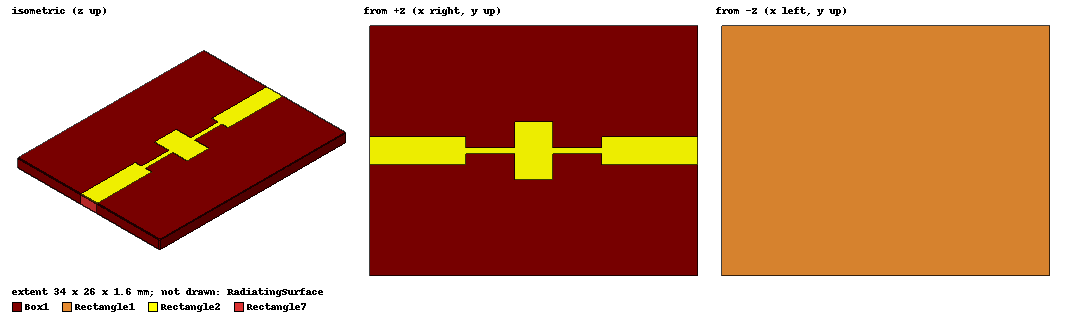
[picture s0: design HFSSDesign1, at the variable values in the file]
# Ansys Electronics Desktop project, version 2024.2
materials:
  vacuum: permittivity=1
  FR4_epoxy: permittivity=4.4 dielectric_loss_tangent=0.02

design HFSSDesign1 (HFSS, HFSS Terminal Network, model units mm)
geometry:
  Box1 [FR4_epoxy] = box(corner=(-17mm, -13mm, 0mm), size=(34mm, 26mm, -1.6mm))
  Rectangle1 = rectangle(corner=(-17mm, -13mm, -1.6mm), x_size=34mm, y_size=26mm)
  Rectangle2 = rectangle(corner=(17mm, -1.5mm, 0mm), x_size=-10mm, y_size=3mm)
  Rectangle3 = rectangle(corner=(-17mm, -1.5mm, 0mm), x_size=10mm, y_size=3mm)
  Rectangle4 = rectangle(corner=(7mm, -0.35mm, 0mm), x_size=-5mm, y_size=0.7mm)
  Rectangle5 = rectangle(corner=(-7mm, -0.35mm, 0mm), x_size=5mm, y_size=0.7mm)
  Rectangle6 = rectangle(corner=(-2mm, -3mm, 0mm), x_size=4mm, y_size=6mm)
  Rectangle2.unite(Rectangle3..Rectangle6)
  Rectangle7 = rectangle(corner=(17mm, -1.5mm, 0mm), y_size=3mm, z_size=-1.6mm)
  Rectangle8 = rectangle(corner=(-17mm, 1.5mm, 0mm), y_size=-3mm, z_size=-1.6mm)
  RadiatingSurface [vacuum] = region(absolute_offset=41.666667mm on all sides)
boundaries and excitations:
  PerfE1: Perfect E Objects=[Rectangle2, Rectangle1]
  Open1: Radiation Objects=RadiatingSurface
  1: Lumped Port Objects=Rectangle7 LumpedPortType=Modal Modes{Mode1{IntLine{(17, 0, -1.6) -> (17, 0, 0)} CharImp=Zpi RenormImp=50ohm}} Impedance=50ohm
  2: Lumped Port Objects=Rectangle8 LumpedPortType=Modal Modes{Mode1{IntLine{(-17, 0, -1.6) -> (-17, 0, 0)} CharImp=Zpi RenormImp=50ohm}} Impedance=50ohm
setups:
  Setup1: HfssDriven Frequency=2.4GHz MaxDeltaS=0.02 MaximumPasses=12 MinimumPasses=1 MinimumConvergedPasses=1 PercentRefinement=30 BasisOrder=1 PortAccuracy=2 DrivenSolverType="Direct Solver"
    sweep Sweep: 1GHz to 5GHz, 101 points; Type=Fast SaveFields
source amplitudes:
  1:1: 1V 0deg
  2:1: 0V 0deg
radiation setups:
  3D: Infinite Sphere Theta=0deg..360deg step 2deg Phi=-180deg..180deg step 2deg
  Elevation: Infinite Sphere Theta=-180deg..180deg step 1deg Phi=0deg..90deg step 90deg
  Azimuth: Infinite Sphere Theta=90deg..90deg step 0deg Phi=-180deg..180deg step 1deg
  Infinite Sphere1: Infinite Sphere Theta=0deg..360deg step 2deg Phi=-180deg..180deg step 2deg
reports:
  S Parameter Plot 1: dB(S(1,1)), dB(S(2,1)) vs Freq on Setup1 : Sweep
  Gain Plot 2: dB(GainTotal) vs Theta on Setup1 : LastAdaptive, 3D [Phi=-180deg,-90deg,0deg,90deg,180deg Freq=2.4GHz]
  Directivity Plot 1: dB(DirTotal) vs Theta on Setup1 : LastAdaptive, 3D [Phi=-180deg,-90deg,0deg,90deg,180deg Freq=2.4GHz]
